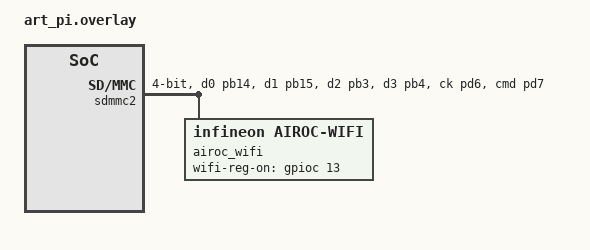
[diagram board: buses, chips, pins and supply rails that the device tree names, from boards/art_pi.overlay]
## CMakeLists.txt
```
# NanoMQ → ART-Pi (STM32H750XBH6) broker demo — sibling of
# demo/nanomq_zephyr_qemu_x86 and demo/nanomq_zephyr_esp32s3.
#
# Cross-compiles the NanoNNG submodule (nng/) with ExternalProject exactly
# like the sibling demos do, then compiles the NanoMQ broker core sources
# (nanomq/nanomq/) against it.
#
# Board: art_pi (Ruiside Electronic ART-Pi, STM32H750XBH6, 1 MB SRAM,
# 32 MB SDRAM, 8 MB QSPI flash, RMII Ethernet with a LAN8720A PHY).
#
# The broker is ~0.9 MB of code while the STM32H750 has only 128 KB of
# internal flash — occupied by the ART-Pi factory bootloader — so the image
# links into the QSPI memory-mapped window at 0x90000000.  The overlay below
# redirects zephyr,flash there; the factory bootloader maps the QUADSPI and
# jumps to the vector table at 0x90000000.  See
# docs/adr/0001-qspi-xip-behind-art-pi-factory-bootloader.md.
#
# The broker data plane does not fit in internal SRAM either: it is served
# from a k_heap over the SDRAM1 devicetree region (see src/artpi_ext_ram.ld
# and docs/adr/0002-...).
#
# Build:  west build -b art_pi demo/nanomq_zephyr_stm32_art-pi
#          (add:  -- -DEXTRA_CONF_FILE=local.conf   for REST credentials)
# Flash:  demo/nanomq_zephyr_stm32_art-pi/tools/flash.sh

cmake_minimum_required(VERSION 3.20.0)
if(NOT DEFINED ZEPHYR_BASE)
  set(ZEPHYR_BASE $ENV{ZEPHYR_BASE})
endif()

# Mandatory: without it a plain `west build -b art_pi` links into the 128 KB
# internal flash (which cannot hold the broker) and the demo overlay also
# disables the display controller, whose framebuffer would otherwise sit in
# the SDRAM window the broker heap uses.
set(DTC_OVERLAY_FILE
  ${CMAKE_CURRENT_SOURCE_DIR}/boards/art_pi.overlay
  CACHE STRING "Board overlay: QSPI XIP + display off" FORCE)

find_package(Zephyr REQUIRED HINTS ${ZEPHYR_BASE})
project(nanomq_zephyr_stm32_art_pi)

# Repo layout: this demo is <repo>/demo/nanomq_zephyr_stm32_art-pi; the
# NanoNNG submodule (nng fork incl. nanolib) lives at <repo>/nng.
set(NANOMQ_ROOT ${CMAKE_CURRENT_SOURCE_DIR}/../..)
set(NNG_ROOT ${NANOMQ_ROOT}/nng)

# ── NanoMQ broker core ──────────────────────────────────────────
# Mirror of the SOURCES list in nanomq/nanomq/CMakeLists.txt with the same
# three deviations as the sibling demos:
#   * process.c excluded — pure POSIX (fork/kill/<paths.h>); its symbols
#     (process.h) are provided by src/process_stub.c instead.
#   * plugin/plugin.c excluded — NNG_ENABLE_PLUGIN off.
#   * tests/ excluded — NANOMQ_TESTS off.
target_sources(app PRIVATE
  src/main.c
  src/process_stub.c
  ${NANOMQ_ROOT}/nanomq/bridge.c
  ${NANOMQ_ROOT}/nanomq/pub_handler.c
  ${NANOMQ_ROOT}/nanomq/sub_handler.c
  ${NANOMQ_ROOT}/nanomq/unsub_handler.c
  ${NANOMQ_ROOT}/nanomq/hashmap.c
  ${NANOMQ_ROOT}/nanomq/rest_api.c
  ${NANOMQ_ROOT}/nanomq/web_server.c
  ${NANOMQ_ROOT}/nanomq/webhook_inproc.c
  ${NANOMQ_ROOT}/nanomq/webhook_post.c
  ${NANOMQ_ROOT}/nanomq/aws_bridge.c
  ${NANOMQ_ROOT}/nanomq/nanomq_rule.c
  ${NANOMQ_ROOT}/nanomq/conf_api.c
  ${NANOMQ_ROOT}/nanomq/cmd_proc.c
  ${NANOMQ_ROOT}/nanomq/acl_handler.c
  ${NANOMQ_ROOT}/nanomq/acl_hazard.c
  ${NANOMQ_ROOT}/nanomq/mqtt_api.c
  ${NANOMQ_ROOT}/nanomq/nanomq.c
  ${NANOMQ_ROOT}/nanomq/apps/broker.c
  ${NANOMQ_ROOT}/nanomq/apps/nng_bridge.c
)

target_include_directories(app PRIVATE
  ${NANOMQ_ROOT}/nanomq
  ${NANOMQ_ROOT}/nanomq/include
  ${NNG_ROOT}/include
)

# Upstream platform/capability macros (root CMakeLists.txt has no Zephyr
# branch and falls into the POSIX else-clause, so it is not reused here):
#   ACL_SUPP      — ENABLE_ACL default ON; conf struct fields follow it
#   ENABLE_LOG    — log calls enabled (SUPP_SYSLOG deliberately NOT set:
#                   Zephyr has no syslog(); nanolib log.c has __ZEPHYR__
#                   output support instead)
#   SUPP_NANO_LIB — hides nanomq.c's main(); keeps get_cache_argc/argv
#                   which rest_api.c references
#   NNG_STATIC_LIB — NNG_DECL decoration
#   log_init=...  — nanolib's log_init(conf_log *) (mqtt_api.c) collides with
#                   Zephyr's logging subsystem once CONFIG_LOG=y, so every
#                   app-side use is renamed.
target_compile_definitions(app PRIVATE
  ACL_SUPP
  ENABLE_LOG
  SUPP_NANO_LIB
  NNG_STATIC_LIB
  log_init=nanomq_log_init
)

# Broker heap bounds.  NanoNNG's external-RAM allocator (built with
# NNG_ZEPHYR_ALLOC_SMH below) externs _ext_ram_heap_start/_end and hands that
# range to a plain k_heap.  The fragment aliases those symbols to the SDRAM1
# devicetree region, which keeps the nng submodule unmodified.
zephyr_linker_sources(SECTIONS src/artpi_ext_ram.ld)

# NanoNNG broker-side protocol/transports (upstream sets these as plain
# variables before add_subdirectory(nng); ExternalProject needs them passed
# explicitly as cache vars).
set(NNG_EXTRA_ARGS
  -DNNG_PROTO_MQTT_BROKER=ON
  -DNNG_TRANSPORT_MQTT_BROKER_TCP=ON
  -DNNG_TRANSPORT_MQTT_BROKER_WS=ON
)

# ENABLE_LOG and ACL_SUPP must reach the nng build as compiler flags: nng's
# CMake only reacts to -DNNG_* cache vars, so plain macros have to go through
# CMAKE_C_FLAGS.  A libnng built without ENABLE_LOG leaves the broker's log
# module dead; built without ACL_SUPP it lays struct conf out differently
# from the app side (auth_http shifts by the conf_acl fields) and
# start_rest_server() locks a garbage mutex — the qemu demo's issue #11.
#
# NNG_ZEPHYR_ALLOC_SMH switches the nng Zephyr allocator from libc malloc to
# a k_heap over external RAM — here the SDRAM window — as the broker data
# plane cannot live in the ART-Pi's 1 MB of internal SRAM.
set(NNG_EXTRA_CFLAGS "-DNNG_ZEPHYR_ALLOC_SMH -DENABLE_LOG -DACL_SUPP")

include(../cmake/nanonng_external.cmake)
```

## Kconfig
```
# NanoMQ broker demo options
#
# An application-level Kconfig file replaces the top of the Zephyr tree
# (kconfig.cmake: KCONFIG_ROOT = <app>/Kconfig when it exists), so the whole
# Zephyr tree must be pulled back in explicitly.  See samples/basic/minimal/
# Kconfig for the same pattern.

config BROKER_LOG_DEBUG
	bool "Set NanoMQ log level to DEBUG"
	help
	  Bumps nanolib log level from INFO to DEBUG so the MQTT session flow is
	  visible on the console.  Disable for normal runs (less noise, fewer
	  cycles spent formatting logs, and the 115200 console is a throughput
	  bottleneck once every packet is traced).

config BROKER_REST_API
	bool "Enable the NanoMQ REST API (HTTP tcp:8081, Basic auth)"
	help
	  Sets conf http_server.enable / auth_type=BASIC plus the credentials
	  from BROKER_REST_USER / _PASS in main.c, so the broker serves
	  /api/v4 over plain HTTP behind Basic auth.

	  Basic over plain HTTP is base64, not encryption — TLS is compiled out
	  of the Zephyr NanoNNG.  Keep this off untrusted networks.

config BROKER_REST_USER
	string "REST API Basic-auth username"
	depends on BROKER_REST_API
	default ""
	help
	  Username for the REST API's Basic auth.  Deliberately no default:
	  the board serves this port to the whole LAN, so the API stays off
	  until a deployment supplies its own credentials.  Set both this and
	  BROKER_REST_PASS from local.conf (see local.conf.example).

config BROKER_REST_PASS
	string "REST API Basic-auth password"
	depends on BROKER_REST_API
	default ""
	help
	  Password matching BROKER_REST_USER.  Both must be set, and must not be
	  the published admin/public pair unless
	  BROKER_REST_ALLOW_PUBLISHED is enabled, for the listener to come up.

config BROKER_REST_ALLOW_PUBLISHED
	bool "Allow the published admin/public REST credentials"
	depends on BROKER_REST_API
	default n
	help
	  The sibling demos refuse the published admin/public pair outright.
	  This switch relaxes that refusal so the demo can be exercised with the
	  credentials function_test.py defaults to, without passing
	  --rest-user/--rest-pass.  Intended for a bench LAN only: it puts an
	  administrative surface behind a password that is in every copy of the
	  repository.  Enable it from local.conf, never in prj.conf.

config BROKER_WEBHOOK
	bool "Enable the NanoMQ webhook forwarder (POST to BROKER_WEBHOOK_URL)"
	help
	  Sets conf web_hook.enable, an inproc hook channel (Zephyr has no IPC
	  transport) and two rules (MESSAGE_PUBLISH on "hook/#",
	  CLIENT_CONNACK).  Off by default: the CLIENT_CONNACK rule fires on
	  every client connect, so with no receiver up each connect costs a
	  failed HTTP attempt (see the ESP32-S3 demo's README).

config BROKER_WEBHOOK_URL
	string "Webhook receiver URL"
	depends on BROKER_WEBHOOK
	default ""
	help
	  Where the broker POSTs event JSON, e.g. "http://192.168.1.5:18080/".
	  Must be the LAN address of the machine running hook_receiver.py and
	  reachable from the board.  With it empty the forwarder stays off.

config BROKER_WS
	bool "Enable the WebSocket listener (MQTT over RFC6455, tcp:8083)"
	help
	  Sets conf websocket.enable / websocket.url in main.c so the broker also
	  accepts MQTT over WebSocket on nmq-ws://0.0.0.0:8083/mqtt.  Requires
	  the mqttws transport in the NanoNNG build (enabled by this app's
	  CMakeLists via NNG_TRANSPORT_MQTT_BROKER_WS=ON).  TLS is built out of
	  the Zephyr NanoNNG, so WSS stays inert.

config BROKER_SNTP
	bool "Seed CLOCK_REALTIME from SNTP after DHCP"
	default n
	select SNTP
	select DNS_RESOLVER
	help
	  nanolib's log module formats time(NULL), so without a real clock every
	  log line is stamped 1970-01-01.  The ART-Pi has no battery-backed RTC,
	  so enabling this queries public NTP servers once DHCP has bound and
	  seeds CLOCK_REALTIME.  Best effort: with no server reachable the broker
	  still starts, just with the wrong clock, after up to ~9 s of timeouts.

config BROKER_WIFI_SSID
	string "Wi-Fi SSID (STA mode)"
	depends on WIFI
	default ""
	help
	  SSID of the 2.4 GHz access point the demo connects to.  Meant to be set
	  from a local, git-ignored conf file (see local.conf.example) so real
	  credentials never land in the tree.

config BROKER_WIFI_PSK
	string "Wi-Fi passphrase (STA mode; empty = open network)"
	depends on WIFI
	default ""
	help
	  WPA2-PSK passphrase for BROKER_WIFI_SSID.  Empty selects an open
	  (unsecured) network.

config BROKER_WIFI_MONITOR_PERIOD_S
	int "How often to check the Wi-Fi link state (seconds, 0 = off)"
	depends on WIFI
	default 10
	range 0 3600
	help
	  After the bounded boot-time association, a supervisor thread asks
	  the driver for its join state every N seconds and re-associates
	  (then re-requests a lease) whenever the link has gone away.

	  Needed because the airoc driver raises
	  NET_EVENT_WIFI_DISCONNECT_RESULT only for an explicit disconnect
	  request: a lost AP — deauth, disassoc or plain beacon loss — leaves
	  the interface with no event and no address, so the broker used to
	  sit on a dead link until the board was reset.  The supervisor polls
	  the driver's WHD join state, which WHD clears for every one of those
	  losses, and reconnects.

	  0 turns the monitor off: the boot path still associates, but a link
	  that drops afterwards is not recovered.

config BROKER_STATUS_INTERVAL_S
	int "Periodic broker status line (seconds, 0 = off)"
	default 60
	range 0 3600
	help
	  Every N seconds the demo prints one line with the broker's uptime, its
	  listeners and the current IPv4 address, e.g.

	    broker: status running — uptime 63s, MQTT tcp://0.0.0.0:1883,
	    REST http://0.0.0.0:8081, WS :8083/mqtt, ipv4 192.168.1.3

	  nanolib prints the broker's banner and "NanoMQ Broker is started
	  successfully!" only once, while broker() starts, so a console attached
	  after boot (or one whose buffered backlog already scrolled past) never
	  shows them — and on this board the SDIO driver's own error logging can
	  fill the console.  One line a minute keeps "is it up, and on which
	  address?" answerable at any time.  Set 0 for a quiet console.

config AIROC_WIFI_NO_CLM
	bool "Build the AIROC Wi-Fi driver without a CLM blob"
	depends on WIFI_AIROC
	help
	  WHD normally downloads a CLM (regulatory/RF calibration) blob to the
	  chip during init and treats a rejected blob as fatal.  The only CLM
	  published for the CYW43438 is the AW-CU427-P module's; it is not this
	  module's calibration data, but the ART-Pi's AP6212 accepts it, and
	  without *some* CLM the firmware refuses the "country" ioctl that
	  whd_wifi_on() issues and the driver never initialises at all
	  ("Could not set Country code" -> ret = -19).  So this option does not
	  produce a working link on this board — it exists only to bisect CLM
	  problems during bring-up.  Leave it off.

config AIROC_WIFI_WHD_DEBUG
	bool "Enable WHD's verbose debug (and its download verification)"
	depends on WIFI_AIROC
	help
	  Defines WPRINT_ENABLE_WHD_DEBUG in the WHD build.  Besides very
	  verbose tracing this compiles in whd_bus_sdio_verify_resource(), which
	  reads every downloaded firmware/CLM block back and reports
	  "Downloaded image is corrupted" when the transfer did not arrive
	  intact — the quickest way to tell a broken SDIO bulk write from a
	  firmware the chip refuses to boot.  Diagnostic only.

config AIROC_WIFI_WHD_POKE
	bool "Poll the WHD thread instead of waiting for the SDIO card interrupt"
	depends on WIFI_AIROC
	help
	  For boards whose SDIO Wi-Fi chip never asserts the in-band card
	  interrupt on DAT1.  WHD's worker thread only enters its receive path
	  when it is woken with the bus-interrupt flag, and only the card
	  interrupt sets that flag, so without this every ioctl is written to
	  the WLAN function and then times out without its reply ever being
	  read.  With it enabled a 20 ms timer calls whd_thread_notify_irq(),
	  handing the thread the wake-up the interrupt would have delivered so
	  that its poll picks the reply up.

	  Required on the ART-Pi's AP6212: measured on hardware, the controller's
	  SDMMC_STA.SDIOIT stays clear for a whole boot while
	  SDMMC_MASK.SDIOITIE is set and CCCR INTEN has function 2 enabled.
	  Background: demo/nanomq_zephyr_stm32_art-pi/docs/en_US/port-to-art-pi.md
	  ("no in-band SDIO card interrupt").

	  Note what it is: a workaround for a chip that probably signals
	  out-of-band (the vendor NVRAM sets muxenab bit 0x10 = "HW OOB" and the
	  board wires a GPIO_WIFI_HOST_WAKE net).  Mapping that pin as
	  wifi-host-wake-gpios is the clean fix; this costs a periodic wake-up of
	  the WLAN worker thread.

config AIROC_WIFI_DISABLE_POWERSAVE
	bool "Keep the Wi-Fi chip out of its low-power (KSO) sleep"
	depends on WIFI_AIROC
	default y
	help
	  Calls whd_wifi_disable_powersave() once the chip is up.

	  With power save on, the device sleeps and the *first* wake-up write to
	  SDIO_SLEEP_CSR is deliberately not answered -- WHD's own comment says
	  the device may not respond and it ignores the error.  A host
	  controller cannot know that, so the STM32 SDHC driver logs every
	  unanswered command as a command-response timeout; on the ART-Pi that
	  begins ~50 s after association (when the chip's PM2 mode engages) and
	  floods the console at ~300 lines/second while the WLAN data path stays
	  healthy (measured: zero failures on CMD53 transfers, thousands on the
	  CMD52 wake writes).

	  A mains-powered broker does not need the chip to sleep, so this is on
	  by default here.  Turn it off to keep the vendor's power behaviour and
	  accept the log noise.

source "Kconfig.zephyr"
```

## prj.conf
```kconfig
# NanoMQ broker → ART-Pi (art_pi / STM32H750XBH6) demo config.
#
# Derived from demo/nanomq_zephyr_esp32s3/prj.conf.  Differences:
#   * the network layer is not chosen here: it comes from an extra conf file,
#     and Wi-Fi is the default one this demo is verified with —
#       wifi.conf  Wi-Fi STA on the on-board AP6212 (+ art_pi_wifi.overlay),
#       eth.conf   on-board Ethernet PHY (RMII + LAN8720A), needs a cable,
#       usb.conf   USB-ECM device port (+ art_pi_usb.overlay), needs a host.
#     tools/flash.sh picks wifi unless told --eth/--usb.
#   * the broker data plane moves to the on-board 32 MB SDRAM instead of PSRAM
#     (CONFIG_MEMC_STM32_SDRAM + the SDRAM1 devicetree region; the heap bounds
#     are the linker fragment src/artpi_ext_ram.ld)
#   * the image links into QSPI at 0x90000000 (boards/art_pi.overlay): the
#     128 KB internal flash holds the ART-Pi factory bootloader
#   * no display — &ltdc is disabled in the overlay so its framebuffer does
#     not compete with the broker heap for the SDRAM window
#   * REST credentials are NOT here: BROKER_REST_USER/_PASS and
#     BROKER_REST_ALLOW_PUBLISHED come from a local, git-ignored conf file
#     (local.conf, see local.conf.example)

# POSIX API — pthreads/sockets/poll for nng + NanoMQ.  nng creates a
# mutex/condvar per sock/ctx/aio/work and retries forever when Zephyr's fixed
# pool is exhausted, so budget generously (1024 slots cost ~30 KB of static
# arrays).
CONFIG_POSIX_API=y
CONFIG_POSIX_THREADS=y
CONFIG_POSIX_THREAD_THREADS_MAX=16
CONFIG_MAX_PTHREAD_MUTEX_COUNT=1024
CONFIG_MAX_PTHREAD_COND_COUNT=1024
# Rwlocks track distinct topics in the nanolib subscription tree (one per
# dbtree node); 256 covers the demo scale.
CONFIG_MAX_PTHREAD_RWLOCK_COUNT=256
# nng taskq/poller threads and dynamic POSIX threads live on the kernel heap
# (k_malloc).  DYNAMIC_THREAD_STACK_SIZE is the per-pthread stack:
# 16 threads x 16 KB = 256 KB of the HEAP_MEM_POOL_SIZE budget below.
CONFIG_DYNAMIC_THREAD=y
CONFIG_DYNAMIC_THREAD_STACK_SIZE=16384
CONFIG_DYNAMIC_THREAD_ALLOC=y
CONFIG_POLL=y
# zvfs_poll() maps the whole poll() fd set onto one shared k_poll_event array
# (Kconfig default 3!); nng's pollq puts every armed socket into a single
# poll(), so budget one slot per listener/connection direction.
CONFIG_ZVFS_POLL_MAX=64

# Networking — common to every variant; which link carries it (Wi-Fi by
# default) is decided by wifi.conf / eth.conf / usb.conf, see the top of this
# file.
CONFIG_NETWORKING=y
CONFIG_NET_IPV4=y
CONFIG_NET_TCP=y
CONFIG_NET_SOCKETS=y
CONFIG_NET_L2_ETHERNET=y
# Deliberately NOT CONFIG_NET_CONFIG_SETTINGS: that module's AUTO_INIT
# defaults to y and runs a SYS_INIT hook that configures a static address
# before the driver/interface is ready (the ESP32-S3 demo's §22-4 trap).
# main.c starts the DHCPv4 client itself and waits for the BOUND event.
CONFIG_NET_DHCPV4=y

# Net-stack pools — broker scale.  Every socket (listening or connected) takes
# one net_context + one net_conn; pool exhaustion makes Zephyr's TCP answer
# SYN with RST while the listeners still look alive.
CONFIG_NET_MAX_CONTEXTS=32
CONFIG_NET_MAX_CONN=32
CONFIG_ZVFS_OPEN_ADD_SIZE_NET=32
CONFIG_NET_PKT_RX_COUNT=32
CONFIG_NET_PKT_TX_COUNT=32
CONFIG_NET_BUF_RX_COUNT=64
CONFIG_NET_BUF_TX_COUNT=64

# SDRAM — the broker data plane (docs/adr/0002).  MEMC_STM32_SDRAM is off by
# default in this Zephyr revision, so the FMC would otherwise never be
# initialised; the region's MPU attributes are derived from the devicetree
# (zephyr,memory-attr on the sdram1 node) via CONFIG_MEM_ATTR.
CONFIG_MEMC=y
CONFIG_MEMC_STM32_SDRAM=y

# Kernel heap (k_malloc): pthread stacks (16 x 16 KB worst case), the Ethernet
# driver's allocations and Zephyr internals.  The broker's own data plane is
# NOT here — it lives in SDRAM.  CONFIG_MEM_ATTR (default y) adds the MPU
# region for the SDRAM window; CONFIG_NOCACHE_MEMORY is selected by the
# STM32 Ethernet driver (Cortex-M7 DMA buffers must not be cached).
CONFIG_HEAP_MEM_POOL_SIZE=196608
CONFIG_MAIN_STACK_SIZE=16384

# Keep the Zephyr logging subsystem on during bring-up: the Ethernet driver
# and net stack report link/PHY/DHCP progress through it.  nanolib's own log
# module is independent (ENABLE_LOG) and prints the broker banner.
# CONFIG_BROKER_LOG_DEBUG still governs nanolib's level.
CONFIG_LOG=y
CONFIG_NET_LOG=y

CONFIG_PRINTK=y

# Float support in picolibc's printf: the REST API serialises numbers with
# cJSON, whose printer uses "%g" — without this, every numeric field comes out
# as the literal "*float*" and the JSON is unparseable.
CONFIG_PICOLIBC_IO_FLOAT=y

# NanoMQ REST API — conf http_server.enable + BASIC auth with the credentials
# from CONFIG_BROKER_REST_USER / _PASS (local.conf).  Served on tcp:8081.
CONFIG_BROKER_REST_API=y

# NanoMQ WebSocket listener (MQTT over RFC6455 on tcp:8083/mqtt).  The
# functional suite's rest_get group asserts the REST view of the websocket
# configuration mirrors the listener, so the two travel together.
CONFIG_BROKER_WS=y

# webhook / DEBUG log stay off (the ESP32-S3 demo's defaults): webhook costs a
# failed HTTP attempt per client connect when no receiver is up, and DEBUG
# logging makes the 115200 console the throughput bottleneck.
CONFIG_BROKER_LOG_DEBUG=n
```

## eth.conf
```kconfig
# Optional Ethernet variant of this demo.
#
# Wi-Fi is the primary path, so the Ethernet driver is not in prj.conf.  Build
# with this file *and without* the Wi-Fi overlay to get the Ethernet
# configuration:
#
#   west build -b art_pi demo/nanomq_zephyr_stm32_art-pi \
#       -- -DEXTRA_CONF_FILE="local.conf;eth.conf"
#
# Status on the bring-up board: the MAC initialises (no `HAL_ETH_Init failed`,
# no `PHY (0) ID FFFF`) and the interface comes up dormant waiting for carrier.
# That board has no Ethernet cable, so link, DHCP and traffic over Ethernet are
# *not* verified — treat this variant as "the driver runs", nothing more.  Do
# not add a reset-gpios override to &eth_phy (boards/art_pi.overlay, section 3):
# the PA3 guess makes the PHY stop answering MDIO.
#
CONFIG_ETH_STM32_HAL=y
```

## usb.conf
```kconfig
# USB-ECM variant of this demo: the board's USB-OTG port (PA11/PA12) presents
# a CDC-ECM Ethernet function, which is the only network interface.  Pair with
# boards/art_pi_usb.overlay:
#
#   west build -b art_pi demo/nanomq_zephyr_stm32_art-pi -- \
#       -DEXTRA_CONF_FILE="local.conf;usb.conf" \
#       -DEXTRA_DTC_OVERLAY_FILE=boards/art_pi_usb.overlay
#
# The board is the DHCPv4 *server* on that link (main.c adds a static address
# and starts the server), so the host's network manager configures the new
# interface on its own — no host-side privileges or manual ip(8) needed.  See
# the README's "USB-ECM (optional)" section.

# Legacy USB device stack.  The ECM function lives in
# subsys/usb/device/class/netusb/, which is built by this option; the newer
# device_next CDC-ECM class would need an extra devicetree node the ART-Pi
# board files do not carry.
CONFIG_USB_DEVICE_STACK=y
CONFIG_USB_DEVICE_STACK_NEXT=n
CONFIG_USB_DEVICE_NETWORK_ECM=y
CONFIG_USB_DEVICE_NETWORK_ECM_MAC="02005E005301"

# The board hands out the lease, so the DHCPv4 *client* stays off: running
# both on one interface means the board would also be asking the host for an
# address it is itself serving.
CONFIG_NET_DHCPV4=n
CONFIG_NET_DHCPV4_SERVER=y
CONFIG_NET_DHCPV4_SERVER_ADDR_COUNT=2
```

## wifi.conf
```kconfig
# Wi-Fi bring-up overlay for the ART-Pi demo (trial config, see README).
#
# The ART-Pi's AP6212 is a BCM43438 wired as an SDIO function on SDMMC2.
# Zephyr's Infineon AIROC driver (WHD based) supports CYW43438 explicitly and
# has an SDIO transport; the SDIO host is the STM32 SDMMC driver.

CONFIG_WIFI=y
CONFIG_WIFI_AIROC=y
# Chip/resource selection: the AP6212 is a plain CYW43438, so use that
# firmware.  The CLM blob is the AW-CU427-P module's (the only one published
# for this part), which is not this module's calibration data; it is loaded
# anyway because the firmware's regulatory engine (and therefore the
# "country" ioctl WHD issues right after reading the FW capabilities)
# refuses to run without one.
CONFIG_CYW43438=y

# SDIO host (STM32 SDMMC2).  The transport itself is derived from the
# devicetree: because the airoc-wifi node sits on an "sd" bus, Kconfig turns
# AIROC_WIFI_BUS_SDIO (and the SDIO stack) on by itself.
CONFIG_SDHC=y
CONFIG_SDHC_STM32_SDMMC=y

# The ART-Pi's AP6212 never asserts the SDIO card interrupt, and WHD's worker
# thread reads ioctl replies only when that interrupt wakes it, so the thread
# is poked from a timer.  Neither the host controller's SD I/O mode
# (DCTRL.SDIOEN), a 1-bit bus, nor the module's out-of-band host-wake pin
# produced an interrupt here -- measurements in docs/en_US/port-to-art-pi.md
# ("no in-band SDIO card interrupt") and ADR 0003.
CONFIG_AIROC_WIFI_WHD_POKE=y

# Keep the chip out of its KSO sleep.  A sleeping device deliberately does not
# answer the first wake-up write to SDIO_SLEEP_CSR, and the host controller
# reports every unanswered command as a command-response timeout -- ~300 a
# second from here on a chip that starts sleeping ~50 s after association.
# The data path is unaffected, so this is log noise plus a power choice; a
# mains-powered broker keeps the chip awake.
CONFIG_AIROC_WIFI_DISABLE_POWERSAVE=y

# Wi-Fi interfaces are managed through the Wi-Fi mgmt API (scan/connect)
CONFIG_NET_L2_WIFI_MGMT=y


# The Ethernet node itself is disabled by boards/art_pi_wifi.overlay for Wi-Fi
# builds (pass it via -DEXTRA_DTC_OVERLAY_FILE); with the node gone neither
# Ethernet driver is instantiated, so the image has a single interface.
```

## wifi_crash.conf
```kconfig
# Crash-capture overlay: immediate logging (so the fatal message is on the
# wire before anything resets the SoC) and no automatic reset on a fatal
# error, leaving the faulted core in place for the debugger to inspect.
CONFIG_LOG_MODE_IMMEDIATE=y
```

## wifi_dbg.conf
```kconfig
# Diagnostic-only overlay: verbose logs while bringing the SDIO Wi-Fi link up.
# Pass together with wifi.conf:  -DEXTRA_CONF_FILE="local.conf;wifi.conf;wifi_dbg.conf"
#
# All modules that do not set their own level log at DEBUG, and messages are
# emitted immediately so the SDIO command sequence keeps its order.

CONFIG_LOG_DEFAULT_LEVEL=4
CONFIG_LOG_MODE_IMMEDIATE=y

# Two modules log a line per SDIO transfer / per MPU region, which floods the
# 115200 console and slows the very init being debugged: keep the interesting
# modules (sd, sdio, airoc/wifi) at DEBUG but quiet these.
CONFIG_SDHC_LOG_LEVEL_ERR=y
CONFIG_MPU_LOG_LEVEL_ERR=y

# The AIROC/WHD glue logs the chip ID and the init steps at DBG.
CONFIG_WIFI_LOG_LEVEL_DBG=y

# WHD's own tracing, including the post-download verification of the firmware
# /CLM transfers.
CONFIG_AIROC_WIFI_WHD_DEBUG=y
```

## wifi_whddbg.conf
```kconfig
# Diagnostic: enable only WHD's own tracing (its WPRINTs go straight to the
# console via printf) while keeping Zephyr's log level at its default, so the
# boot is not slowed down by our own debug logging.  This also compiles in
# whd_bus_sdio_verify_resource(), which reports a corrupted firmware/CLM
# download.
CONFIG_AIROC_WIFI_WHD_DEBUG=y
```

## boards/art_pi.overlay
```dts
/*
 * ART-Pi (-b art_pi) demo overlay.
 *
 * 1. Run from QSPI, not the 128 KB internal flash.
 *
 * The board devicetree already describes the QSPI NOR part (w25q64_qspi,
 * 8 MB, memory-mapped at 0x90000000) and a memory region named EXTMEM
 * covering that window.  Pointing zephyr,flash at that region is enough for
 * the linker to place the image at 0x90000000 with an 8 MB FLASH region;
 * the ART-Pi factory bootloader maps the QUADSPI and jumps to the vector
 * table it finds there.  See
 * docs/adr/0001-qspi-xip-behind-art-pi-factory-bootloader.md.
 *
 * Note: do NOT enable the QSPI flash driver (CONFIG_FLASH /
 * FLASH_STM32_QSPI) in this build.  Its init would reprogram the QUADSPI
 * while the CPU is fetching instructions from it.  This demo has no
 * filesystem, so no flash driver is needed.  (CONFIG_FLASH is off by default
 * in this Zephyr revision — keep it that way.)
 */

/ {
	chosen {
		zephyr,flash = &ext_memory;
	};
};

/*
 * 2. Give the display up.
 *
 * &ltdc is enabled by the board devicetree and would allocate its
 * framebuffer inside the SDRAM1 region (ext-sdram = <&sdram1>) — the same
 * 6 MB window whose k_heap serves the broker data plane.  A headless broker
 * has no use for it.
 */

&ltdc {
	status = "disabled";
};

/*
 * 3. The Ethernet PHY needs no reset-line override — do not add one.
 *
 * During bring-up the PHY's reset line was assumed to be PA3 (the RT-Thread
 * BSP's ETH_RESET_PIN) and driven as
 *
 *     &eth_phy { reset-gpios = <&gpioa 3 GPIO_ACTIVE_LOW>; ... };
 *
 * With that override the PHY never answered: `phy_mii: PHY (0) ID FFFF` and
 * `HAL_ETH_Init failed`.  With the override removed, the MAC initialises and
 * no PHY error is reported (the interface comes up dormant and waits for
 * carrier — this bench has no Ethernet cable, so the link itself is
 * untested).  PA3 is therefore not this board's PHY reset, and the override
 * is not shipped.
 */

/*
 * 4. Wi-Fi: the on-board AP6212 (BCM43438) on SDMMC2.
 *
 * The AP6212's Wi-Fi side is an SDIO function; the board devicetree wires
 * nothing for it, so both the SDIO host and the AIROC/WHD device node are
 * added here.  Pin usage comes from the ART-Pi Wi-Fi project's CubeMX
 * configuration (projects/art_pi_wifi/board/CubeMX_Config):
 *
 *   PB14/PB15 = SDMMC2_D0/D1, PB3/PB4 = SDMMC2_D2/D3  (AF9)
 *   PD6/PD7   = SDMMC2_CK/CMD                          (AF11)
 *
 * The chip's power-up line WL_REG_ON is PC13 — taken from the ART-Pi's own
 * Wi-Fi driver (libraries/drivers/drv_wlan.c: AP6212_WL_REG_ON GET_PIN(C, 13),
 * driven high very early at INIT_PREV_EXPORT).
 *
 * wifi-host-wake-gpios is deliberately absent, but note what that costs:
 * measured on hardware, this module never asserts the in-band SDIO card
 * interrupt (SDMMC_STA.SDIOIT stays clear with SDMMC_MASK.SDIOITIE set, CCCR
 * INTEN=0x7 and the WLAN function ready), yet WHD's receive path is only
 * entered when that interrupt wakes its thread.  The driver therefore pokes
 * whd_thread_notify_irq() from a timer so the thread polls instead — see
 * patches/0002 and docs/en_US/port-to-art-pi.md §4.3.  The vendor NVRAM sets
 * muxenab=0x11 (bit 0x10 = "HW OOB") and the schematic carries a
 * GPIO_WIFI_HOST_WAKE net, so mapping that pin here is the likely clean fix.
 */

&sdmmc2 {
	status = "okay";
	interrupt-names = "event";
	pinctrl-0 = <&sdmmc2_d0_pb14 &sdmmc2_d1_pb15 &sdmmc2_d2_pb3
		     &sdmmc2_d3_pb4 &sdmmc2_ck_pd6 &sdmmc2_cmd_pd7>;
	pinctrl-names = "default";
	bus-width = <4>;
	min-bus-freq = <DT_FREQ_K(400)>;
	max-bus-freq = <DT_FREQ_M(50)>;

	airoc_wifi: airoc-wifi {
		compatible = "infineon,airoc-wifi";
		status = "okay";
		wifi-reg-on-gpios = <&gpioc 13 GPIO_ACTIVE_HIGH>;
		/* wifi-host-wake-gpios is deliberately absent.
		 *
		 * The schematic's SDIO_WLAN connector (U8 pin 13, WL_HOST_WAKE)
		 * carries a GPIO_WIFI_HOST_WAKE net, and the vendor NVRAM sets
		 * muxenab=0x11 whose 0x10 bit is documented as "HW OOB", so an
		 * out-of-band host-wake is plausible.  It was tried as
		 *
		 *     wifi-host-wake-gpios = <&gpioe 3 GPIO_ACTIVE_HIGH>;
		 *
		 * (PE3 is the only MCU pin the schematic text plausibly pairs
		 * with that net — the PI14/PI15 hits are the LCD's
		 * LTDC_CLK/LTDC_R0, see Zephyr's own art_pi.dts) and made no
		 * difference: WHD still never saw a wake-up.  The driver's
		 * in-band path is what this demo uses; see
		 * docs/en_US/port-to-art-pi.md and CONFIG_AIROC_WIFI_WHD_POKE.
		 */
	};
};

/*
 * The TF card slot (SDMMC1) is unused by this demo, and the SDHC driver
 * instantiates for every enabled st,stm32-sdmmc node — disabling it keeps the
 * card-detect/disk stack out of the image and leaves SDMMC2 solely for Wi-Fi.
 */

&sdmmc1 {
	status = "disabled";
};
```

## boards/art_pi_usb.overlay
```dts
/*
 * Extra overlay for the USB-ECM build (pass with
 * -DEXTRA_DTC_OVERLAY_FILE=boards/art_pi_usb.overlay).
 *
 * Here the board is a USB *device*: the ART-Pi's USB-OTG port (PA11/PA12
 * through the board's already-enabled zephyr_udc0) presents a CDC-ECM
 * Ethernet function, and that link is the only network interface.  So the
 * Wi-Fi and Ethernet nodes are dropped, exactly like the Wi-Fi overlay drops
 * the MAC.
 */

&sdmmc2 {
	status = "disabled";	/* also removes its airoc-wifi child */
};

&mac {
	status = "disabled";
};

&mdio {
	status = "disabled";
};

&eth_phy {
	status = "disabled";
};
```

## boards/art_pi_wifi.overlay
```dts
/*
 * Extra overlay for Wi-Fi builds (pass with -DEXTRA_DTC_OVERLAY_FILE).
 *
 * The ART-Pi's Ethernet PHY does not answer MDIO on this board and there is
 * no cable, so the Wi-Fi configuration drops the MAC node entirely: that
 * keeps a single network interface, saves the net-stack buffers the Ethernet
 * driver would hold, and avoids the driver's boot-time error log.
 */

&mac {
	status = "disabled";
};

/* The PHY nodes live under &mdio; with the MAC gone they would be orphaned. */
&mdio {
	status = "disabled";
};

&eth_phy {
	status = "disabled";
};

/*
 * 32.768 kHz LPO for the AP6212.
 *
 * The CYW4343x WLAN firmware needs a 32.768 kHz low-power clock; its SDIO
 * backplane enumerates and accepts the firmware download without it, but the
 * WLAN core then never starts (WHD's whd_wifi_read_fw_capabilities fails).
 * The ART-Pi's Wi-Fi clock comes from the low-speed oscillator, so bring the
 * LSE up through the RTC (the vendor's own Wi-Fi how-to also enables its RTC
 * driver for this reason).
 */

&clk_lse {
	status = "okay";
};

&rtc {
	status = "okay";
	clocks = <&rcc STM32_CLOCK(APB4, 16)>, <&rcc STM32_SRC_LSE RTC_SEL(1)>;
};
```

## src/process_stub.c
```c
//
// Zephyr stand-in for nanomq/process.c.
//
// The upstream process.c is pure POSIX (fork/kill/chdir, <paths.h>) and
// cannot be built on Zephyr.  Its public symbols (nanomq/nanomq/
// include/process.h) are referenced from apps/broker.c but only behind
// `daemon == true` / CLI paths that are never taken by the embedded broker
// (conf_init defaults daemon=false; main.c calls broker() directly, bypassing
// broker_start()).  Provide error-returning stubs so the broker object links.
//
// Same file as the two sibling demos; kept per-demo so each builds standalone.
//
#include "include/process.h"

int
process_is_alive(int pid)
{
	(void) pid;
	return (-1);
}

int
process_send_signal(int pid, int signal)
{
	(void) pid;
	(void) signal;
	return (-1);
}

int
pidgrp_send_signal(int pid, int signal)
{
	(void) pid;
	(void) signal;
	return (-1);
}

int
process_daemonize(void)
{
	return (-1);
}

int
process_create_child(int (*child_run)(void *), void *data)
{
	(void) child_run;
	(void) data;
	return (-1);
}
```
